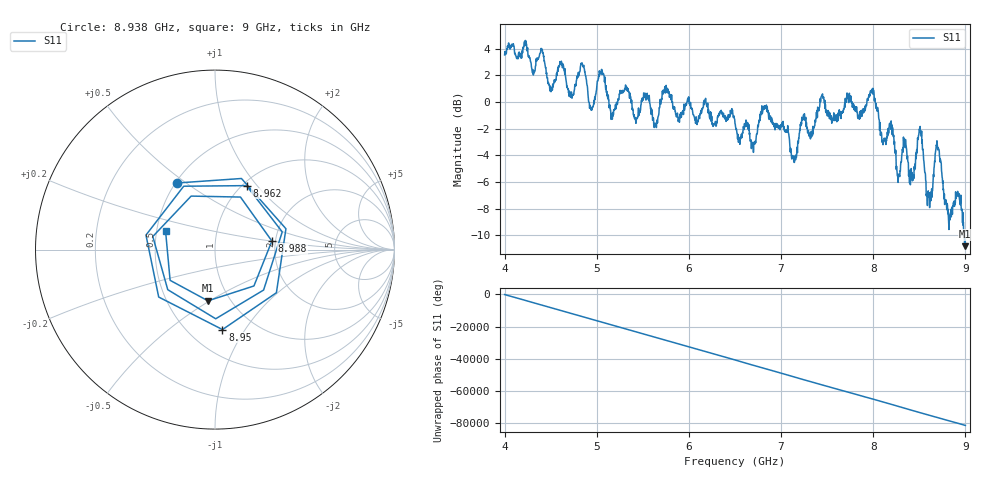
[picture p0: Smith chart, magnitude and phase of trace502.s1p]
! Created with skrf 1.8.0 (http://scikit-rf.org).
# Hz S RI R 50.0
!freq ReS11 ImS11
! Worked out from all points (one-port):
!   1601 points, 4 GHz to 9 GHz, reference 50 ohm
!   lowest |S11| = -10.8 dB at 8.994 GHz (marker M1), VSWR 1.81, Z = 39.5 - j24.6 ohm
!   |S11| at or under -10 dB: 8.98853 GHz to end of sweep
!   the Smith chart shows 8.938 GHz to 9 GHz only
!   S11 on the Smith chart (normalised r, x): 8.938 GHz: 0.51, +0.46; 8.95 GHz: 0.72, -0.80; 8.962 GHz: 1.04, +0.88; 8.988 GHz: 1.91, +0.20; 9 GHz: 0.56, +0.13
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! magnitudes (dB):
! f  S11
! 4 GHz  3.5
! 4.625 GHz  2.9
! 4.725 GHz  0.7
! 4.847 GHz  2.7
! 4.941 GHz  -0.6
! 5.047 GHz  2.1
! 5.159 GHz  -0.9
! 5.25 GHz  0.6
! 5.875 GHz  -0.8
! 6.5 GHz  -1.6
! 6.703 GHz  -3.3
! 6.831 GHz  -0.4
! 7.125 GHz  -4.2
! 7.441 GHz  0.5
! 7.75 GHz  0.4
! 7.991 GHz  0.8
! 8.272 GHz  -5.6
! 8.375 GHz  -4.4
! 8.506 GHz  -2.2
! 8.6 GHz  -7.1
! 8.697 GHz  -3.4
! 8.822 GHz  -9.6
! 8.938 GHz  -7.4
! 8.95 GHz  -7.0
! 8.962 GHz  -8.0
! 8.988 GHz  -9.9
! 8.994 GHz  -10.8
! 9 GHz  -10.6
